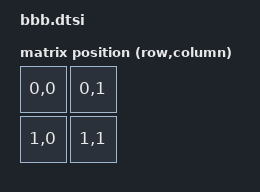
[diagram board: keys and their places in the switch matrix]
#include "bbb-layouts.dtsi"
#include <dt-bindings/zmk/matrix_transform.h>

/ {
    matrix_transform0: matrix_transform0 {
        compatible = "zmk,matrix-transform";
        columns = <2>;
        rows = <2>;
        map = <
            RC(0,0) RC(0,1)
            RC(1,0) RC(1,1)
        >;
    };
};

&physical_layout_bbb {
    transform = <&matrix_transform0>;
};

